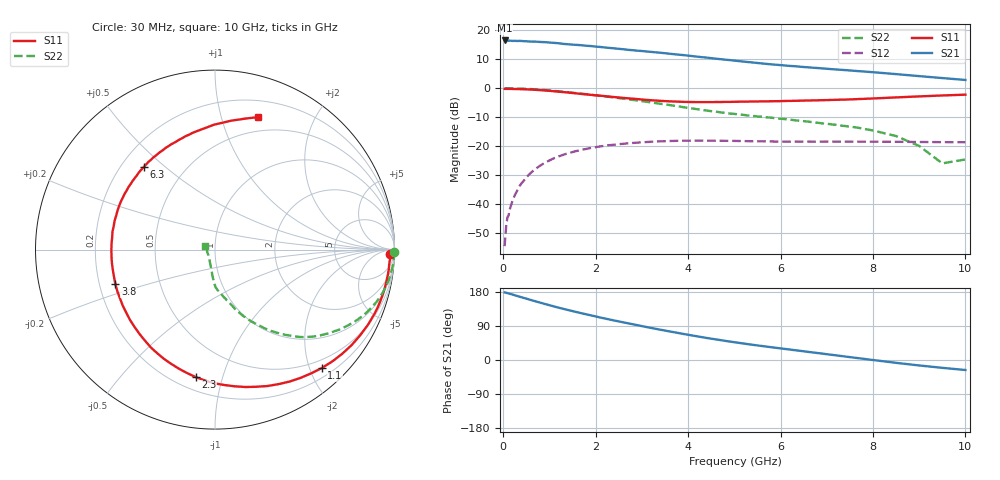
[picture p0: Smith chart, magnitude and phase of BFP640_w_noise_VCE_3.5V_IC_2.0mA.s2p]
! Infineon Technologies  Discrete & RF Semiconductors
! BFP640
! VCE =  3.5 V,  IC =  2.0 mA
! Common Emitter S-Parameters:  Apr 2013
# GHz  S  MA  R  50
!  f  S11  S21  S12  S22
! GHz  MAG  ANG  MAG  ANG  MAG  ANG  MAG  ANG
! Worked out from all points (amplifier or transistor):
!   99 points, 30 MHz to 10 GHz, reference 50 ohm
!   highest |S21| = 16.5 dB at 30 MHz (marker M1)
!   |S21| within 3 dB of that: start of sweep to 2.583 GHz
!   unconditionally stable (mu >= 1): 6.186 GHz to end of sweep
!   at 350 MHz: K = 0.04, MSG = 25.1 dB, |S12| = -33.8 dB
!   at 3.5 GHz: K = 0.57, MSG = 15.2 dB, |S12| = -18.3 dB
!   at 10 GHz: K = 1.28, MAG = 7.5 dB, |S12| = -18.6 dB
!   lowest NFmin = 0.53 dB at 450 MHz
!   S11 on the Smith chart (normalised r, x): 30 MHz: 44, -41; 1.1 GHz: 0.35, -2.20; 2.3 GHz: 0.28, -0.82; 3.8 GHz: 0.27, -0.16; 6.3 GHz: 0.29, +0.43; 10 GHz: 0.35, +1.31
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0.03  0.9759 -1.3  6.667 178.4  0.0019 73.9  0.9986 -0.7
0.04  0.9766 -1.7  6.455 178.1  0.0024 96.6  0.9985 -0.9
0.05  0.9784 -2.1  6.585 178.1  0.0031 89.4  0.9985 -1.2
0.07  0.9762 -3.0  6.575 177.2  0.005 97.7  1 -1.6
0.09  0.9744 -3.9  6.548 176.5  0.0059 83.7  0.9992 -2.1
0.13  0.9743 -5.7  6.636 175.1  0.0078 84.7  0.9972 -3.0
0.35  0.9675 -15.2  6.552 167.2  0.0204 81.7  0.9885 -8.1
0.7  0.9394 -30.5  6.364 154.8  0.0408 73.0  0.9574 -15.9
1.1  0.8882 -48.0  6.059 141.3  0.0623 61.7  0.9016 -24.2
1.7  0.7975 -73.4  5.508 123.2  0.087 46.9  0.8052 -34.4
2.1  0.7447 -90.3  5.149 112.1  0.0996 38.3  0.7407 -40.6
2.3  0.7186 -98.5  4.956 106.9  0.1047 34.3  0.709 -43.3
3  0.6396 -127.7  4.388 89.4  0.1171 22.0  0.5995 -51.7
3.4  0.6065 -144.7  4.096 79.9  0.1218 15.8  0.5404 -56.1
3.8  0.5874 -160.9  3.791 71.0  0.1245 10.1  0.486 -60.1
4.4  0.5772 176.3  3.378 58.2  0.1251 2.8  0.4125 -66.0
5.1  0.5866 155.7  2.937 45.2  0.1234 -4.0  0.3538 -70.9
6.3  0.6077 130.8  2.401 26.0  0.1207 -11.2  0.2814 -77.7
6.7  0.6182 123.4  2.261 19.9  0.1205 -13.5  0.2595 -80.7
8.5  0.6957 90.5  1.753 -7.5  0.1195 -22.4  0.1502 -95.1
9.5  0.7515 76.5  1.499 -20.7  0.1179 -25.9  0.0508 -133.7
10  0.7759 72.0  1.391 -26.4  0.1176 -26.9  0.0593 157.9
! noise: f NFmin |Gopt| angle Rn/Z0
0.45  0.53  0.6  13  0.24
0.9  0.57  0.61  23  0.23
1.5  0.69  0.53  39  0.22
1.9  0.75  0.48  53  0.21
2.4  0.82  0.45  63  0.2
3.5  0.97  0.38  91  0.18
5.5  1.34  0.35  -173  0.18
10  2.34  0.67  -68  0.71
